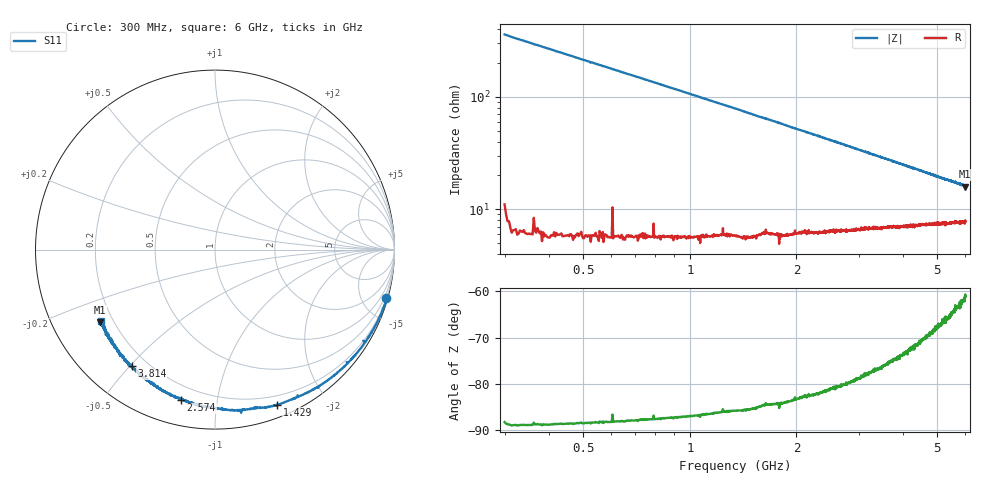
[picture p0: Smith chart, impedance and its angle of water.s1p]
# GHZ S RI R 50.000000000000
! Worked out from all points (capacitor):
!   2001 points, 300 MHz to 6 GHz, reference 50 ohm
!   read as one part to ground: C = 1.48 pF near 328.5 MHz
!   lowest |Z| = 15.9 ohm at 5.971 GHz (marker M1)
!   S11 on the Smith chart (normalised r, x): 300 MHz: 0.22, -7.20; 1.429 GHz: 0.11, -1.47; 2.574 GHz: 0.12, -0.79; 3.814 GHz: 0.14, -0.51; 6 GHz: 0.16, -0.28
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0.3  0.9543 -0.2699
0.3399  0.9456 -0.3056
0.45105  0.9064 -0.3986
0.5451  0.8669 -0.4702
0.6648  0.8078 -0.5543
0.8586  0.7 -0.6697
1.0125  0.6054 -0.7439
1.18635  0.4965 -0.8046
1.4286  0.3478 -0.8644
1.51125  0.2967 -0.877
1.5882  0.2502 -0.8821
1.725  0.1794 -0.8902
1.81335  0.129 -0.8942
2.01  0.0301 -0.8879
2.2494  -0.0716 -0.8714
2.4375  -0.148 -0.849
2.5743  -0.1894 -0.8387
2.8821  -0.2829 -0.7904
3.15  -0.3469 -0.7488
3.42645  -0.4039 -0.7082
3.81405  -0.465 -0.6504
3.8625  -0.4709 -0.6419
4.28715  -0.5249 -0.5846
4.575  -0.5505 -0.5491
5.2875  -0.6021 -0.4635
5.38725  -0.6067 -0.463
5.9715  -0.6426 -0.4027
6  -0.6342 -0.3984
